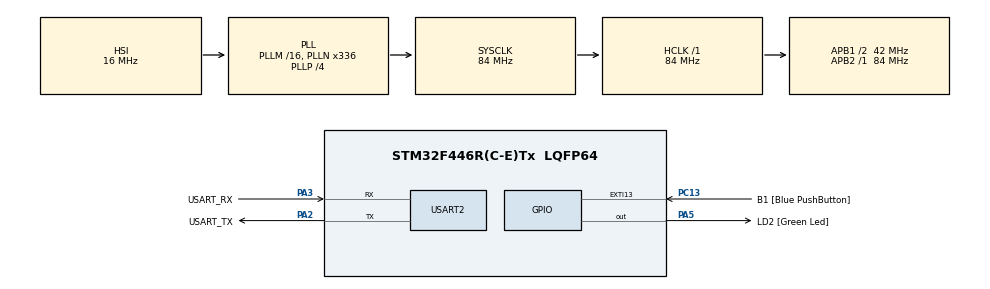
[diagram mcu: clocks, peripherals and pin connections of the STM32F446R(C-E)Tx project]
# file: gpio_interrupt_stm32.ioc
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Mcu.Family=STM32F4
Mcu.Name=STM32F446R(C-E)Tx
Mcu.Package=LQFP64
NVIC.PriorityGroup=NVIC_PRIORITYGROUP_0
PA13.GPIO_Label=TMS
PA13.Mode=Serial_Wire
PA13.Signal=SYS_JTMS-SWDIO
PA14.GPIO_Label=TCK
PA14.Mode=Serial_Wire
PA14.Signal=SYS_JTCK-SWCLK
PA2.GPIO_Label=USART_TX
PA2.Mode=Asynchronous
PA2.Signal=USART2_TX
PA3.GPIO_Label=USART_RX
PA3.Mode=Asynchronous
PA3.Signal=USART2_RX
PA5.GPIO_Label=LD2 [Green Led]
PA5.Signal=GPIO_Output
PB3.GPIO_Label=SWO
PB3.Signal=SYS_JTDO-SWO
PC13.GPIO_Label=B1 [Blue PushButton]
PC13.GPIO_ModeDefaultEXTI=GPIO_MODE_IT_FALLING
PC13.Signal=GPXTI13
PC14-OSC32_IN.Mode=LSE-External-Oscillator
PC14-OSC32_IN.Signal=RCC_OSC32_IN
PC15-OSC32_OUT.Mode=LSE-External-Oscillator
PC15-OSC32_OUT.Signal=RCC_OSC32_OUT
PH0-OSC_IN.Mode=HSE-External-Oscillator
PH0-OSC_IN.Signal=RCC_OSC_IN
PH1-OSC_OUT.Mode=HSE-External-Oscillator
PH1-OSC_OUT.Signal=RCC_OSC_OUT
ProjectManager.HeapSize=0x200
ProjectManager.StackSize=0x400
ProjectManager.TargetToolchain=STM32CubeIDE
RCC.48MHZClocksFreq_Value=84000000
RCC.AHBFreq_Value=84000000
RCC.APB1CLKDivider=RCC_HCLK_DIV2
RCC.APB1Freq_Value=42000000
RCC.APB1TimFreq_Value=84000000
RCC.APB2Freq_Value=84000000
RCC.APB2TimFreq_Value=84000000
RCC.CortexFreq_Value=84000000
RCC.FLatency-AdvancedSettings=FLASH_LATENCY_2
RCC.HCLKFreq_Value=84000000
RCC.HSE_VALUE=8000000
RCC.HSI_VALUE=16000000
RCC.PLLN=336
RCC.PLLP=RCC_PLLP_DIV4
RCC.SYSCLKFreq_VALUE=84000000
RCC.SYSCLKSource=RCC_SYSCLKSOURCE_PLLCLK
RCC.USBFreq_Value=168000000
RCC.VCOOutputFreq_Value=336000000
USART2.VirtualMode=VM_ASYNC
board=NUCLEO-F446RE

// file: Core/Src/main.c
/* USER CODE BEGIN Header */
/**
  ******************************************************************************
  * @file           : main.c
  * @brief          : Main program body
  ******************************************************************************
  * @attention
  *
  * Copyright (c) 2024 STMicroelectronics.
  * All rights reserved.
  *
  * This software is licensed under terms that can be found in the LICENSE file
  * in the root directory of this software component.
  * If no LICENSE file comes with this software, it is provided AS-IS.
  *
  ******************************************************************************
  */
/* USER CODE END Header */
#include "main.h"

/* USER CODE BEGIN PD */
void processA();
void processB();
/* USER CODE END PD */

UART_HandleTypeDef huart2;

void SystemClock_Config(void);
static void MX_GPIO_Init(void);
static void MX_USART2_UART_Init(void);

/* USER CODE BEGIN 0 */
// Flag
volatile int b_pressed_flag = 0;

void EXTI2_IRQHandler(void){
	NVIC_ClearPendingIRQ(EXTI2_IRQn);
	b_pressed_flag = 1;
	EXTI->PR |= (0x01 << 2); // Clear the EXTI pending register
}

void EXTI15_10_IRQHandler(void){
  if(EXTI->PR & (0x01 << 13)){
    NVIC_ClearPendingIRQ(EXTI15_10_IRQn);
    b_pressed_flag = 2;
    EXTI->PR |= (0x01 << 13); // Clear the EXTI pending register
  }
}
/* USER CODE END 0 */

int main(void)
{

  /* MCU Configuration--------------------------------------------------------*/

  /* Reset of all peripherals, Initializes the Flash interface and the Systick. */
  HAL_Init();

  /* Configure the system clock */
  SystemClock_Config();

  /* Initialize all configured peripherals */
  MX_GPIO_Init();
  MX_USART2_UART_Init();
  /* USER CODE BEGIN 2 */

  // Abilitazine clock per GPIOA e GPIOC
  RCC->AHB1ENR |= (0x1 << 0);
  RCC->AHB1ENR |= (0x1 << 2);

  /* Pulsanti su GPIOC13 e GPIOC2 */
  // GPIOC13 <-> PC_13 (USER_BUTTON)
  GPIOC->MODER &= ~(0x03 << 26); // Clear MODER GPIOC13 (Input)
  GPIOC->PUPDR &= ~(0x03 << 26); // Clear PUPDR GPIOC13
  GPIOC->PUPDR |= (0x01 << 26);  // Set Pull-Up

  //GPIOC2 <-> PC_2
  GPIOC->MODER &= ~(0x03 << 4); // Clear MODER GPIOC2 (Input)
  GPIOC->PUPDR &= ~(0x03 << 4); // Clear PUPDR GPIOC2
  GPIOC->PUPDR |= (0x01 << 4);  // Set Pull-Up

  /* LED su GPIOA5 e GPIOA10 */
  // GPIOA5 <-> PA_5 (LD2)
  GPIOA->MODER &= ~(0x03 << 10); // Clear MODER GPIOA5
  GPIOA->MODER |= (0x01 << 10);  // Set Output
  GPIOA->OTYPER &= ~(0x1 << 5);  // Output Push-Pull
  GPIOA->PUPDR &= ~(0x03 << 10); // Clear PUPDR GPIOA5
  GPIOA->PUPDR |= (0x01 << 10);  // Set Pull-Up
  GPIOA->ODR |= (0x1 << 5);      // Set GPIOA5 Output

  // GPIOA10 <-> PA_10
  GPIOA->MODER &= ~(0x03 << 20); // Clear MODER GPIOA10
  GPIOA->MODER |= (0x01 << 20);  // Set Output
  GPIOA->OTYPER &= ~(0x1 << 10); // Output Push-Pull
  GPIOA->PUPDR &= ~(0x03 << 20); // Clear PUPDR GPIOA10
  GPIOA->PUPDR |= (0x01 << 20);  // Set Pull-Up
  GPIOA->ODR |= (0x1 << 10);     // Set GPIO10 Output

  /* Gestione interrupts */
  // Enable clock for SYSCFG peripheral (bit 14)
  RCC->APB2ENR |= RCC_APB2ENR_SYSCFGEN;

  SYSCFG->EXTICR[0] |= SYSCFG_EXTICR1_EXTI2_PC;	// External interrupt on GPIOC2
  SYSCFG->EXTICR[3] |= SYSCFG_EXTICR4_EXTI13_PC;	// External interrupt on GPIOC13

  EXTI->IMR  |= (0x01 << 13) | (0x01 << 2);     	// Set not masked interrupt
  EXTI->RTSR |= (0x01 << 13) | (0x01 << 2);    	// (Rising Trigger Selection register) Rising Edge

  // Enable Interrupt
  __asm volatile ("cpsie i" : : : "memory"); // Change Processor State, Enable Interrupts

  /* NVIC Management */
  // PC_13
  NVIC_SetPriority(EXTI15_10_IRQn, 0);
  NVIC_ClearPendingIRQ(EXTI15_10_IRQn);
  NVIC_EnableIRQ(EXTI15_10_IRQn);

  // PC_2
  NVIC_SetPriority(EXTI2_IRQn, 0);
  NVIC_ClearPendingIRQ(EXTI2_IRQn);
  NVIC_EnableIRQ(EXTI2_IRQn);

  /* USER CODE END 2 */

  /* Infinite loop */
  while (1)
  {

    /* USER CODE BEGIN 3 */
	  if(b_pressed_flag == 1){
		  processA();
	  }else if(b_pressed_flag == 2){
		  processB();
	  }

	  if(b_pressed_flag == 0){
		  __NOP(); // No Operation does nothing.
	  }
  }
  /* USER CODE END 3 */
}

void SystemClock_Config(void)
{
  RCC_OscInitTypeDef RCC_OscInitStruct = {0};
  RCC_ClkInitTypeDef RCC_ClkInitStruct = {0};

  /** Configure the main internal regulator output voltage
  */
  __HAL_RCC_PWR_CLK_ENABLE();
  __HAL_PWR_VOLTAGESCALING_CONFIG(PWR_REGULATOR_VOLTAGE_SCALE3);

  /** Initializes the RCC Oscillators according to the specified parameters
  * in the RCC_OscInitTypeDef structure.
  */
  RCC_OscInitStruct.OscillatorType = RCC_OSCILLATORTYPE_HSI;
  RCC_OscInitStruct.HSIState = RCC_HSI_ON;
  RCC_OscInitStruct.HSICalibrationValue = RCC_HSICALIBRATION_DEFAULT;
  RCC_OscInitStruct.PLL.PLLState = RCC_PLL_ON;
  RCC_OscInitStruct.PLL.PLLSource = RCC_PLLSOURCE_HSI;
  RCC_OscInitStruct.PLL.PLLM = 16;
  RCC_OscInitStruct.PLL.PLLN = 336;
  RCC_OscInitStruct.PLL.PLLP = RCC_PLLP_DIV4;
  RCC_OscInitStruct.PLL.PLLQ = 2;
  RCC_OscInitStruct.PLL.PLLR = 2;
  if (HAL_RCC_OscConfig(&RCC_OscInitStruct) != HAL_OK)
  {
    Error_Handler();
  }

  /** Initializes the CPU, AHB and APB buses clocks
  */
  RCC_ClkInitStruct.ClockType = RCC_CLOCKTYPE_HCLK|RCC_CLOCKTYPE_SYSCLK
                              |RCC_CLOCKTYPE_PCLK1|RCC_CLOCKTYPE_PCLK2;
  RCC_ClkInitStruct.SYSCLKSource = RCC_SYSCLKSOURCE_PLLCLK;
  RCC_ClkInitStruct.AHBCLKDivider = RCC_SYSCLK_DIV1;
  RCC_ClkInitStruct.APB1CLKDivider = RCC_HCLK_DIV2;
  RCC_ClkInitStruct.APB2CLKDivider = RCC_HCLK_DIV1;

  if (HAL_RCC_ClockConfig(&RCC_ClkInitStruct, FLASH_LATENCY_2) != HAL_OK)
  {
    Error_Handler();
  }
}

static void MX_USART2_UART_Init(void)
{

  huart2.Instance = USART2;
  huart2.Init.BaudRate = 115200;
  huart2.Init.WordLength = UART_WORDLENGTH_8B;
  huart2.Init.StopBits = UART_STOPBITS_1;
  huart2.Init.Parity = UART_PARITY_NONE;
  huart2.Init.Mode = UART_MODE_TX_RX;
  huart2.Init.HwFlowCtl = UART_HWCONTROL_NONE;
  huart2.Init.OverSampling = UART_OVERSAMPLING_16;
  if (HAL_UART_Init(&huart2) != HAL_OK)
  {
    Error_Handler();
  }

}

static void MX_GPIO_Init(void)
{
  GPIO_InitTypeDef GPIO_InitStruct = {0};

  /* GPIO Ports Clock Enable */
  __HAL_RCC_GPIOC_CLK_ENABLE();
  __HAL_RCC_GPIOH_CLK_ENABLE();
  __HAL_RCC_GPIOA_CLK_ENABLE();
  __HAL_RCC_GPIOB_CLK_ENABLE();

  /*Configure GPIO pin Output Level */
  HAL_GPIO_WritePin(LD2_GPIO_Port, LD2_Pin, GPIO_PIN_RESET);

  /*Configure GPIO pin : B1_Pin */
  GPIO_InitStruct.Pin = B1_Pin;
  GPIO_InitStruct.Mode = GPIO_MODE_IT_FALLING;
  GPIO_InitStruct.Pull = GPIO_NOPULL;
  HAL_GPIO_Init(B1_GPIO_Port, &GPIO_InitStruct);

  /*Configure GPIO pin : LD2_Pin */
  GPIO_InitStruct.Pin = LD2_Pin;
  GPIO_InitStruct.Mode = GPIO_MODE_OUTPUT_PP;
  GPIO_InitStruct.Pull = GPIO_NOPULL;
  GPIO_InitStruct.Speed = GPIO_SPEED_FREQ_LOW;
  HAL_GPIO_Init(LD2_GPIO_Port, &GPIO_InitStruct);

}

/* USER CODE BEGIN 4 */
void processA(void){
	GPIOA->ODR  ^= (0x01 << 10); // Toggle on PA_10
	HAL_Delay(400);

	b_pressed_flag = 0; // Reset Flag
}
void processB(void){
	GPIOA->ODR  ^= (0x01 << 5); // Toggle on PA_5
	HAL_Delay(400);

	b_pressed_flag = 0; // Reset Flag
}
/* USER CODE END 4 */

void Error_Handler(void)
{
  __disable_irq();
  while (1)
  {
  }
}
